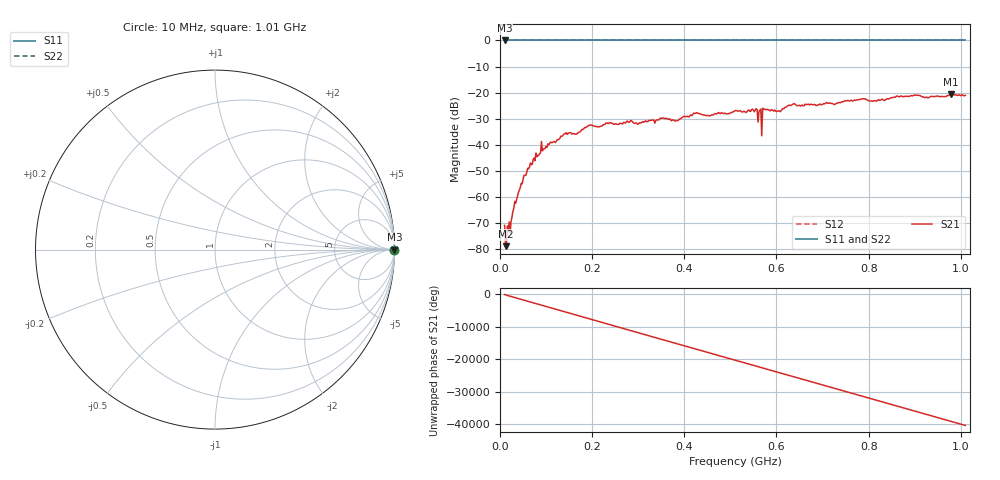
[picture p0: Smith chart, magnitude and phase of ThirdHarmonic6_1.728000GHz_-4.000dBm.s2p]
! 8/16/2025 8:48:29 PM
! C:\ANRITSUVNA\TEMP\TEMP.S2P
! CHANNEL.1
! TR.MEASUREMENT
! RAW.DATA
! RF.CORRECTION.OFF
! AVERAGING.OFF
! IF.BANDWIDTH: 5KHZ
! SWEEPTYPE:  FREQ.SWEEP(Linear)
! Reference Plane Port Info
! PORT:  PORT1  PORT2
! DISTANCE:  0  m  0  m
! TIME:  0  s  0  s
! PHASE.OFFSET:  0  deg.  0  deg.
! LOSS:  0  dB  0  dB
! REF.LOSS:  0  dB  0  dB
! REF.FREQ:  0  Hz  0  Hz
! Power Info
! POWER:  -20  dBm  -20  dBm
! EFF.POWER:  -20  dBm  -20  dBm
! SOURCE.ATTEN:  0  dB  0  dB
! TEST.ATTEN:  0  dB  0  dB
# GHZ S RI R 50.0
! FREQ.GHZ  S11RE  S11IM  S21RE  S21IM  S12RE  S12IM  S22RE  S22IM
!; PortSelection: Port_12
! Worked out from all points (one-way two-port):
!   501 points, 10 MHz to 1.01 GHz, reference 50 ohm
!   highest |S21| = -20.68 dB at 978 MHz (marker M1); lowest = -78.9 dB at 12 MHz (marker M2)
!   lowest |S11| = 0.0 dB at 10 MHz (marker M3)
!   |S11| at or under -10 dB: nowhere
!   |S22| runs from 0.0 to 0.0 dB; largest |S21 - S12| = 1.1
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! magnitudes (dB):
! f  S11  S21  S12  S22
! 10 MHz  0.0  -70.9  0.0  0.0
! 12 MHz  0.0  -78.9  0.0  0.0
! 18 MHz  0.0  -72.6  0.0  0.0
! 32 MHz  0.0  -61.7  0.0  0.0
! 50 MHz  0.0  -53.4  0.0  0.0
! 76 MHz  0.0  -46.0  0.0  0.0
! 140 MHz  0.0  -35.7  0.0  0.0
! 178 MHz  0.0  -34.1  0.0  0.0
! 196 MHz  0.0  -32.4  0.0  0.0
! 344 MHz  0.0  -30.5  0.0  0.0
! 510 MHz  0.0  -26.9  0.0  0.0
! 554 MHz  0.0  -26.6  0.0  0.0
! 562 MHz  0.0  -27.2  0.0  0.0
! 564 MHz  0.0  -26.7  0.0  0.0
! 572 MHz  0.0  -26.3  0.0  0.0
! 574 MHz  0.0  -26.4  0.0  0.0
! 604 MHz  0.0  -27.0  0.0  0.0
! 636 MHz  0.0  -24.5  0.0  0.0
! 678 MHz  0.0  -24.7  0.0  0.0
! 844 MHz  0.0  -22.5  0.0  0.0
! 978 MHz  0.0  -20.7  0.0  0.0
! 1.01 GHz  0.0  -21.0  0.0  0.0
